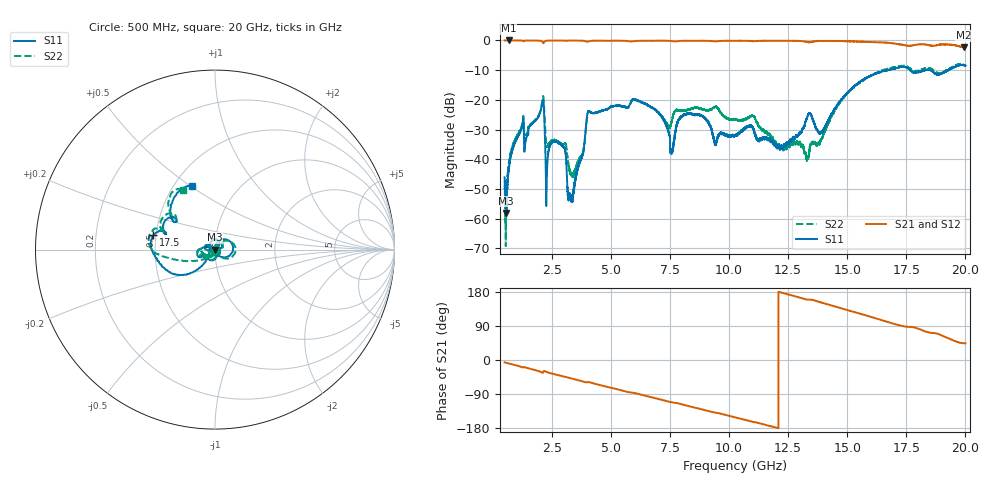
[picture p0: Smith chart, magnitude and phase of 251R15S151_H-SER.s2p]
!{251R15S151}
!Johanson Technology Inc.
!www.johansontechnology.com
!Test Board Conditions:
!Substrate Type  RO4350B
!Substrate Thickness  20 mil
!Substrate Dk  3.66
!TL Type: GCPW
!TL Trace Width  34 mil
!TL Gap  10 mil
!Electrode orientation  Horizontal
!DUT TOPOLOGY	SERIES
!Mounting Pad LxW  26x52 mil
! Created Thu Mar 12 16:52:46 2020
# mhz S ma R 50
! 2 Port Network Data from SP1.SP block
! freq  magS11  angS11  magS21  angS21  magS12  angS12  magS22  angS22
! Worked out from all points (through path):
!   19501 points, 500 MHz to 20 GHz, reference 50 ohm
!   highest |S21| = 0.00 dB at 672 MHz (marker M1); lowest = -2.3 dB at 19.93 GHz (marker M2)
!   group delay of S21, straight-line fit = 43.6 ps
!   lowest |S11| = -58.1 dB at 570 MHz (marker M3), VSWR 1.00, Z = 49.9 + j0.0306 ohm
!   |S11| at or under -10 dB: start of sweep to 16.7 GHz; 17.66 GHz to 18.29 GHz (634.6 MHz wide, 3.53 % of centre); 18.52 GHz to 19.27 GHz (759.4 MHz wide, 4.02 % of centre)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
!   |S22| runs from -69.3 to -7.9 dB; largest |S21 - S12| = 0.021
!   S11 on the Smith chart (normalised r, x): 500 MHz: 1.00, -0.01; 17.5 GHz: 0.48, +0.09; 20 GHz: 0.62, +0.51
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500  0.004975 -108.3  0.9986 -6.2  0.9993 -6.2  0.003782 -105.2
570  0.001247 165.7  0.9991 -7.4  0.9989 -7.4  0.001365 95.5
672  0.006927 94.5  0.9996 -9.1  0.9978 -9.1  0.007871 80.0
1211  0.0322 75.2  0.9969 -17.9  0.9969 -17.9  0.03494 66.0
2074  0.08035 46.0  0.9713 -32.8  0.9712 -32.8  0.08551 35.3
2299  0.007282 79.2  0.9908 -32.2  0.9906 -32.1  0.01629 -5.6
2976  0.0163 62.8  0.9947 -43.6  0.9949 -43.6  0.01782 15.5
3271  0.002316 109.1  0.9949 -47.7  0.9948 -47.7  0.005951 -45.1
3750  0.01056 -110.5  0.9906 -55.6  0.9916 -55.6  0.01115 -118.2
4089  0.06416 -124.7  0.9726 -58.7  0.9723 -58.7  0.06319 -130.9
7000  0.06147 166.8  0.9886 -102.6  0.9906 -102.6  0.06241 176.6
7590  0.01327 134.7  0.9729 -112.1  0.9742 -112.0  0.04564 -126.3
8198  0.05773 94.0  0.9887 -120.2  0.9872 -120.1  0.06655 -146.9
10250  0.02524 -14.0  0.9864 -151.5  0.9861 -151.5  0.04647 -130.2
12209  0.01653 -145.1  0.9855 177.9  0.9873 178.0  0.01654 -65.7
13500  0.05211 150.1  0.9484 158.9  0.9492 159.1  0.01819 52.7
13889  0.02827 -175.5  0.979 151.9  0.9789 151.8  0.02147 -64.6
15016  0.1332 -129.7  0.9684 131.7  0.9723 131.6  0.1294 -151.0
16750  0.3189 -167.1  0.9134 99.8  0.9007 99.3  0.3375 -177.1
17499  0.3524 166.9  0.8187 88.0  0.8193 87.8  0.3661 164.7
19928  0.3828 112.1  0.7647 44.4  0.7662 44.5  0.3859 119.8
20000  0.375 109.6  0.769 44.0  0.7686 44.1  0.3759 118.4
